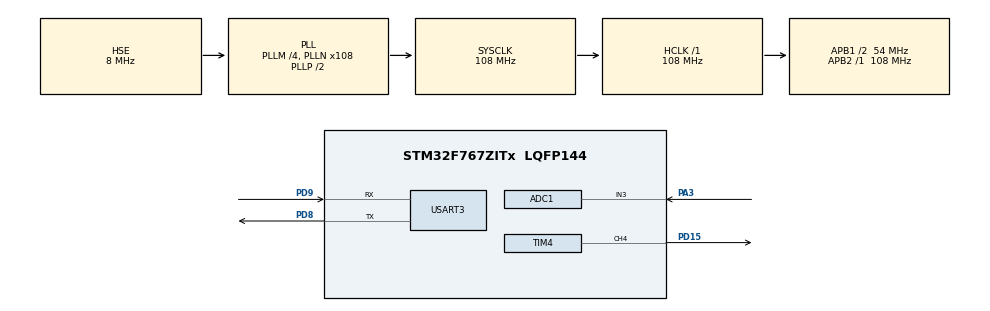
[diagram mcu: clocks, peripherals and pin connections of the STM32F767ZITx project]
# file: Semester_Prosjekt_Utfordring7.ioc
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ADC1.Channel-0\#ChannelRegularConversion=ADC_CHANNEL_3
ADC1.ClockPrescaler=ADC_CLOCK_SYNC_PCLK_DIV8
ADC1.NbrOfConversionFlag=1
ADC1.Rank-0\#ChannelRegularConversion=1
ADC1.SamplingTime-0\#ChannelRegularConversion=ADC_SAMPLETIME_15CYCLES
ADC1.master=1
Mcu.Family=STM32F7
Mcu.Name=STM32F767ZITx
Mcu.Package=LQFP144
NVIC.PriorityGroup=NVIC_PRIORITYGROUP_4
PA3.Signal=ADCx_IN3
PD15.Signal=S_TIM4_CH4
PD8.Mode=Asynchronous
PD8.Signal=USART3_TX
PD9.Mode=Asynchronous
PD9.Signal=USART3_RX
PH0/OSC_IN.Mode=HSE-External-Oscillator
PH0/OSC_IN.Signal=RCC_OSC_IN
PH1/OSC_OUT.Mode=HSE-External-Oscillator
PH1/OSC_OUT.Signal=RCC_OSC_OUT
ProjectManager.HeapSize=0x200
ProjectManager.StackSize=0x400
ProjectManager.TargetToolchain=STM32CubeIDE
RCC.AHBFreq_Value=108000000
RCC.APB1CLKDivider=RCC_HCLK_DIV2
RCC.APB1Freq_Value=54000000
RCC.APB1TimFreq_Value=108000000
RCC.APB2Freq_Value=108000000
RCC.APB2TimFreq_Value=108000000
RCC.CortexFreq_Value=108000000
RCC.HCLKFreq_Value=108000000
RCC.HSE_VALUE=8000000
RCC.HSI_VALUE=16000000
RCC.LSE_VALUE=32768
RCC.PLLM=4
RCC.PLLN=108
RCC.PLLSourceVirtual=RCC_PLLSOURCE_HSE
RCC.SYSCLKFreq_VALUE=108000000
RCC.SYSCLKSource=RCC_SYSCLKSOURCE_PLLCLK
RCC.USBFreq_Value=108000000
RCC.VCOOutputFreq_Value=216000000
SH.ADCx_IN3.0=ADC1_IN3,IN3
SH.S_TIM4_CH4.0=TIM4_CH4,PWM Generation4 CH4
TIM4.Channel-PWM\ Generation4\ CH4=TIM_CHANNEL_4
TIM4.Period=19999
TIM4.Prescaler=107
TIM4.Pulse-PWM\ Generation4\ CH4=2000
USART3.VirtualMode-Asynchronous=VM_ASYNC
VP_TIM4_VS_ClockSourceINT.Mode=Internal
board=custom

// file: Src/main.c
/* USER CODE BEGIN Header */
/**
  ******************************************************************************
  * @file           : main.c
  * @brief          : Main program body
  ******************************************************************************
  * @attention
  *
  * Copyright (c) 2026 STMicroelectronics.
  * All rights reserved.
  *
  * This software is licensed under terms that can be found in the LICENSE file
  * in the root directory of this software component.
  * If no LICENSE file comes with this software, it is provided AS-IS.
  *
  ******************************************************************************
  */
/* USER CODE END Header */
#include "main.h"
#include <string.h>
#include <stdio.h>

/* USER CODE BEGIN PD */
#define SERVO_PULSE_MIN 1300
#define SERVO_PULSE_MAX 1650
#define SERVO_STEP      15
#define SWEEP_DELAY     3000
#define TEMP_GAIN       23.38f
#define TEMP_ZERO_V     1.6451f
#define TEMP_COLD_C     19.5f
#define TYPE_K_V_PER_C  0.000041f
/* USER CODE END PD */

ADC_HandleTypeDef hadc1;

TIM_HandleTypeDef htim4;

UART_HandleTypeDef huart3;

/* USER CODE BEGIN PV */
uint16_t current_pulse = SERVO_PULSE_MIN;
/* USER CODE END PV */

void SystemClock_Config(void);
static void MX_GPIO_Init(void);
static void MX_TIM4_Init(void);
static void MX_ADC1_Init(void);
static void MX_USART3_UART_Init(void);

int main(void)
{

  /* USER CODE BEGIN 1 */
  float voltage = 0.0f;
  /* USER CODE END 1 */

  /* MCU Configuration--------------------------------------------------------*/

  /* Reset of all peripherals, Initializes the Flash interface and the Systick. */
  HAL_Init();

  /* Configure the system clock */
  SystemClock_Config();

  /* Initialize all configured peripherals */
  MX_GPIO_Init();
  MX_TIM4_Init();
  MX_ADC1_Init();
  MX_USART3_UART_Init();
  /* USER CODE BEGIN 2 */
  HAL_TIM_PWM_Start(&htim4, TIM_CHANNEL_4);
  __HAL_TIM_SET_COMPARE(&htim4, TIM_CHANNEL_4, 1000);
  uint32_t timeout = 100;
  char transmit_buffer[100];
  /* USER CODE END 2 */

  /* Infinite loop */
  /* USER CODE BEGIN WHILE */
  const char *csv_header = "tid_ms;puls_us;spenning_V;temperatur_C\r\n";

  HAL_UART_Transmit(&huart3, (uint8_t *)csv_header,
    strlen(csv_header), timeout);
  while (1)
  {
    /* USER CODE END WHILE */

    /* USER CODE BEGIN 3 */
        // Fra start til midten
    for (current_pulse = SERVO_PULSE_MIN;
        current_pulse <= SERVO_PULSE_MAX;
        current_pulse += SERVO_STEP)
    {
        __HAL_TIM_SET_COMPARE(&htim4, TIM_CHANNEL_4, current_pulse);
        HAL_Delay(SWEEP_DELAY);
        uint32_t adc_sum = 0;
        uint32_t samples = 0;

        for (int i = 0; i < 32; i++)
        {
            if (HAL_ADC_Start(&hadc1) == HAL_OK)
            {
                if (HAL_ADC_PollForConversion(&hadc1, 10) == HAL_OK)
                {
                    adc_sum += HAL_ADC_GetValue(&hadc1);
                    samples++;
                }
            }

            HAL_ADC_Stop(&hadc1);
            HAL_Delay(1);
        }

        if (samples == 0) continue;

        voltage = ((float)adc_sum / samples) * (3.3f / 4095.0f);
        float temperature = TEMP_COLD_C
          + (voltage - TEMP_ZERO_V)
          / (TEMP_GAIN * TYPE_K_V_PER_C);
       snprintf(transmit_buffer, sizeof(transmit_buffer),
         "%lu;%u;%.3f;%.1f\r\n",
         (unsigned long)HAL_GetTick(),
         (unsigned int)current_pulse,
         voltage,
         temperature);

        HAL_UART_Transmit(&huart3, (uint8_t*)transmit_buffer,
          strlen(transmit_buffer), timeout);
    }

    // Fra midten tilbake mot start
    for (current_pulse = SERVO_PULSE_MAX - SERVO_STEP;
        current_pulse > SERVO_PULSE_MIN;
        current_pulse -= SERVO_STEP)
    {
        __HAL_TIM_SET_COMPARE(&htim4, TIM_CHANNEL_4, current_pulse);
        HAL_Delay(SWEEP_DELAY);
        uint32_t adc_sum = 0;
        uint32_t samples = 0;

        for (int i = 0; i < 32; i++)
        {
            if (HAL_ADC_Start(&hadc1) == HAL_OK)
            {
                if (HAL_ADC_PollForConversion(&hadc1, 10) == HAL_OK)
                {
                    adc_sum += HAL_ADC_GetValue(&hadc1);
                    samples++;
                }
            }

            HAL_ADC_Stop(&hadc1);
            HAL_Delay(1);
        }

        if (samples == 0) continue;

        voltage = ((float)adc_sum / samples) * (3.3f / 4095.0f);
        float temperature = TEMP_COLD_C
          + (voltage - TEMP_ZERO_V)
          / (TEMP_GAIN * TYPE_K_V_PER_C);
        snprintf(transmit_buffer, sizeof(transmit_buffer),
         "%lu;%u;%.3f;%.1f\r\n",
         (unsigned long)HAL_GetTick(),
         (unsigned int)current_pulse,
         voltage,
         temperature);

        HAL_UART_Transmit(&huart3, (uint8_t*)transmit_buffer,
          strlen(transmit_buffer), timeout);
    }
  }
  /* USER CODE END 3 */
}

void SystemClock_Config(void)
{
  RCC_OscInitTypeDef RCC_OscInitStruct = {0};
  RCC_ClkInitTypeDef RCC_ClkInitStruct = {0};

  /** Configure the main internal regulator output voltage
  */
  __HAL_RCC_PWR_CLK_ENABLE();
  __HAL_PWR_VOLTAGESCALING_CONFIG(PWR_REGULATOR_VOLTAGE_SCALE3);

  /** Initializes the RCC Oscillators according to the specified parameters
  * in the RCC_OscInitTypeDef structure.
  */
  RCC_OscInitStruct.OscillatorType = RCC_OSCILLATORTYPE_HSE;
  RCC_OscInitStruct.HSEState = RCC_HSE_ON;
  RCC_OscInitStruct.PLL.PLLState = RCC_PLL_ON;
  RCC_OscInitStruct.PLL.PLLSource = RCC_PLLSOURCE_HSE;
  RCC_OscInitStruct.PLL.PLLM = 4;
  RCC_OscInitStruct.PLL.PLLN = 108;
  RCC_OscInitStruct.PLL.PLLP = RCC_PLLP_DIV2;
  RCC_OscInitStruct.PLL.PLLQ = 2;
  RCC_OscInitStruct.PLL.PLLR = 2;
  if (HAL_RCC_OscConfig(&RCC_OscInitStruct) != HAL_OK)
  {
    Error_Handler();
  }

  /** Activate the Over-Drive mode
  */
  if (HAL_PWREx_EnableOverDrive() != HAL_OK)
  {
    Error_Handler();
  }

  /** Initializes the CPU, AHB and APB buses clocks
  */
  RCC_ClkInitStruct.ClockType = RCC_CLOCKTYPE_HCLK|RCC_CLOCKTYPE_SYSCLK
                              |RCC_CLOCKTYPE_PCLK1|RCC_CLOCKTYPE_PCLK2;
  RCC_ClkInitStruct.SYSCLKSource = RCC_SYSCLKSOURCE_PLLCLK;
  RCC_ClkInitStruct.AHBCLKDivider = RCC_SYSCLK_DIV1;
  RCC_ClkInitStruct.APB1CLKDivider = RCC_HCLK_DIV2;
  RCC_ClkInitStruct.APB2CLKDivider = RCC_HCLK_DIV1;

  if (HAL_RCC_ClockConfig(&RCC_ClkInitStruct, FLASH_LATENCY_3) != HAL_OK)
  {
    Error_Handler();
  }
}

static void MX_ADC1_Init(void)
{

  ADC_ChannelConfTypeDef sConfig = {0};

  /** Configure the global features of the ADC (Clock, Resolution, Data Alignment and number of conversion)
  */
  hadc1.Instance = ADC1;
  hadc1.Init.ClockPrescaler = ADC_CLOCK_SYNC_PCLK_DIV8;
  hadc1.Init.Resolution = ADC_RESOLUTION_12B;
  hadc1.Init.ScanConvMode = ADC_SCAN_DISABLE;
  hadc1.Init.ContinuousConvMode = DISABLE;
  hadc1.Init.DiscontinuousConvMode = DISABLE;
  hadc1.Init.ExternalTrigConvEdge = ADC_EXTERNALTRIGCONVEDGE_NONE;
  hadc1.Init.ExternalTrigConv = ADC_SOFTWARE_START;
  hadc1.Init.DataAlign = ADC_DATAALIGN_RIGHT;
  hadc1.Init.NbrOfConversion = 1;
  hadc1.Init.DMAContinuousRequests = DISABLE;
  hadc1.Init.EOCSelection = ADC_EOC_SINGLE_CONV;
  if (HAL_ADC_Init(&hadc1) != HAL_OK)
  {
    Error_Handler();
  }

  /** Configure for the selected ADC regular channel its corresponding rank in the sequencer and its sample time.
  */
  sConfig.Channel = ADC_CHANNEL_3;
  sConfig.Rank = ADC_REGULAR_RANK_1;
  sConfig.SamplingTime = ADC_SAMPLETIME_15CYCLES;
  if (HAL_ADC_ConfigChannel(&hadc1, &sConfig) != HAL_OK)
  {
    Error_Handler();
  }

}

static void MX_TIM4_Init(void)
{

  TIM_ClockConfigTypeDef sClockSourceConfig = {0};
  TIM_MasterConfigTypeDef sMasterConfig = {0};
  TIM_OC_InitTypeDef sConfigOC = {0};

  htim4.Instance = TIM4;
  htim4.Init.Prescaler = 107;
  htim4.Init.CounterMode = TIM_COUNTERMODE_UP;
  htim4.Init.Period = 19999;
  htim4.Init.ClockDivision = TIM_CLOCKDIVISION_DIV1;
  htim4.Init.AutoReloadPreload = TIM_AUTORELOAD_PRELOAD_DISABLE;
  if (HAL_TIM_Base_Init(&htim4) != HAL_OK)
  {
    Error_Handler();
  }
  sClockSourceConfig.ClockSource = TIM_CLOCKSOURCE_INTERNAL;
  if (HAL_TIM_ConfigClockSource(&htim4, &sClockSourceConfig) != HAL_OK)
  {
    Error_Handler();
  }
  if (HAL_TIM_PWM_Init(&htim4) != HAL_OK)
  {
    Error_Handler();
  }
  sMasterConfig.MasterOutputTrigger = TIM_TRGO_RESET;
  sMasterConfig.MasterSlaveMode = TIM_MASTERSLAVEMODE_DISABLE;
  if (HAL_TIMEx_MasterConfigSynchronization(&htim4, &sMasterConfig) != HAL_OK)
  {
    Error_Handler();
  }
  sConfigOC.OCMode = TIM_OCMODE_PWM1;
  sConfigOC.Pulse = 2000;
  sConfigOC.OCPolarity = TIM_OCPOLARITY_HIGH;
  sConfigOC.OCFastMode = TIM_OCFAST_DISABLE;
  if (HAL_TIM_PWM_ConfigChannel(&htim4, &sConfigOC, TIM_CHANNEL_4) != HAL_OK)
  {
    Error_Handler();
  }
  HAL_TIM_MspPostInit(&htim4);

}

static void MX_USART3_UART_Init(void)
{

  huart3.Instance = USART3;
  huart3.Init.BaudRate = 115200;
  huart3.Init.WordLength = UART_WORDLENGTH_8B;
  huart3.Init.StopBits = UART_STOPBITS_1;
  huart3.Init.Parity = UART_PARITY_NONE;
  huart3.Init.Mode = UART_MODE_TX_RX;
  huart3.Init.HwFlowCtl = UART_HWCONTROL_NONE;
  huart3.Init.OverSampling = UART_OVERSAMPLING_16;
  huart3.Init.OneBitSampling = UART_ONE_BIT_SAMPLE_DISABLE;
  huart3.AdvancedInit.AdvFeatureInit = UART_ADVFEATURE_NO_INIT;
  if (HAL_UART_Init(&huart3) != HAL_OK)
  {
    Error_Handler();
  }

}

static void MX_GPIO_Init(void)
{

  /* GPIO Ports Clock Enable */
  __HAL_RCC_GPIOH_CLK_ENABLE();
  __HAL_RCC_GPIOA_CLK_ENABLE();
  __HAL_RCC_GPIOD_CLK_ENABLE();

}

void Error_Handler(void)
{
  __disable_irq();
  while (1)
  {
  }
}
